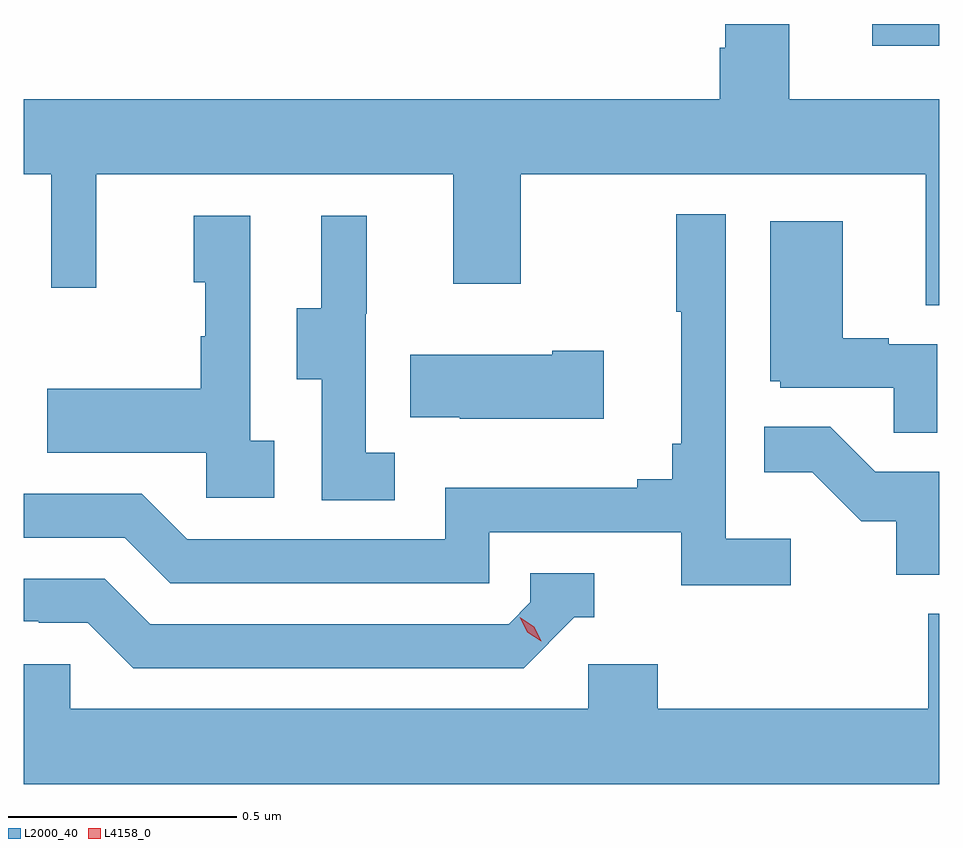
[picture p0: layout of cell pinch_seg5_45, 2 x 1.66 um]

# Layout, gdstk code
import gdstk
lib = gdstk.Library(unit=1e-6, precision=1e-09)
def R(c, l, rs):  # rectangles x0, y0, x1, y1
    for r in rs: c.add(gdstk.rectangle(r[:2], r[2:], *l))
def P(c, l, *ps):  # polygons
    for p in ps: c.add(gdstk.Polygon(p, *l))
L2000_40 = (2000, 40)
L4158_0 = (4158, 0)

pinch_seg5_45 = lib.new_cell('pinch_seg5_45')
R(pinch_seg5_45, L2000_40, [(1105.736,899.664,1105.883,899.712)])
P(pinch_seg5_45, L2000_40, [(1105.883,899.548),(1105.555,899.548),(1105.555,899.712),(1105.415,899.712),(1105.415,899.66),(1105.403,899.66),(1105.403,899.548),(1103.883,899.548),(1103.883,899.384),(1103.943,899.384),(1103.943,899.136),(1104.041,899.136),(1104.041,899.384),(1104.821,899.384),(1104.821,899.145),(1104.969,899.145),(1104.969,899.384),(1105.853,899.384),(1105.853,899.098),(1105.883,899.098)],
  [(1105.558,898.588),(1105.416,898.588),(1105.416,899.296),(1105.308,899.296),(1105.308,899.083),(1105.319,899.083),(1105.319,898.795),(1105.3,898.795),(1105.3,898.718),(1105.223,898.718),(1105.223,898.699),(1104.804,898.699),(1104.804,898.587),(1104.24,898.587),(1104.141,898.686),(1103.883,898.686),(1103.883,898.59),(1104.104,898.59),(1104.203,898.491),(1104.9,898.491),(1104.9,898.602),(1105.319,898.602),(1105.319,898.486),(1105.558,898.486)],
  [(1104.43,898.802),(1104.378,898.802),(1104.378,899.293),(1104.254,899.293),(1104.254,899.148),(1104.28,899.148),(1104.28,899.03),(1104.27,899.03),(1104.27,898.915),(1103.935,898.915),(1103.935,898.775),(1104.282,898.775),(1104.282,898.677),(1104.43,898.677)],
  [(1104.694,898.775),(1104.63,898.775),(1104.63,899.079),(1104.632,899.079),(1104.632,899.293),(1104.533,899.293),(1104.533,899.091),(1104.479,899.091),(1104.479,898.936),(1104.534,898.936),(1104.534,898.672),(1104.694,898.672)],
  [(1105.878,899.013),(1105.772,899.013),(1105.772,899.026),(1105.672,899.026),(1105.672,899.281),(1105.514,899.281),(1105.514,898.932),(1105.536,898.932),(1105.536,898.917),(1105.783,898.917),(1105.783,898.819),(1105.878,898.819)],
  [(1105.15,898.998),(1105.037,898.998),(1105.037,898.99),(1104.727,898.99),(1104.727,898.853),(1104.835,898.853),(1104.835,898.85),(1105.15,898.85)],
  [(1105.883,898.734),(1105.743,898.734),(1105.645,898.832),(1105.501,898.832),(1105.501,898.733),(1105.605,898.733),(1105.712,898.626),(1105.789,898.626),(1105.789,898.509),(1105.883,898.509)],
  [(1105.086,898.416),(1105.129,898.416),(1105.129,898.512),(1104.99,898.512),(1104.99,898.449),(1104.942,898.401),(1104.159,898.401),(1104.06,898.5),(1103.883,898.5),(1103.883,898.407),(1103.916,898.407),(1103.916,898.404),(1104.023,898.404),(1104.122,898.305),(1104.975,898.305)],
  [(1105.883,898.424),(1105.859,898.424),(1105.859,898.216),(1105.268,898.216),(1105.268,898.314),(1105.116,898.314),(1105.116,898.216),(1103.985,898.216),(1103.985,898.314),(1103.883,898.314),(1103.883,898.052),(1105.883,898.052)])
P(pinch_seg5_45, L4158_0, [(1105.014,898.364),(1104.983,898.383),(1104.967,898.416),(1104.967,898.416),(1104.967,898.416),(1104.998,898.396),(1105.014,898.364),(1105.014,898.364)])

lib.write_gds('pinch_seg5_45.gds')
